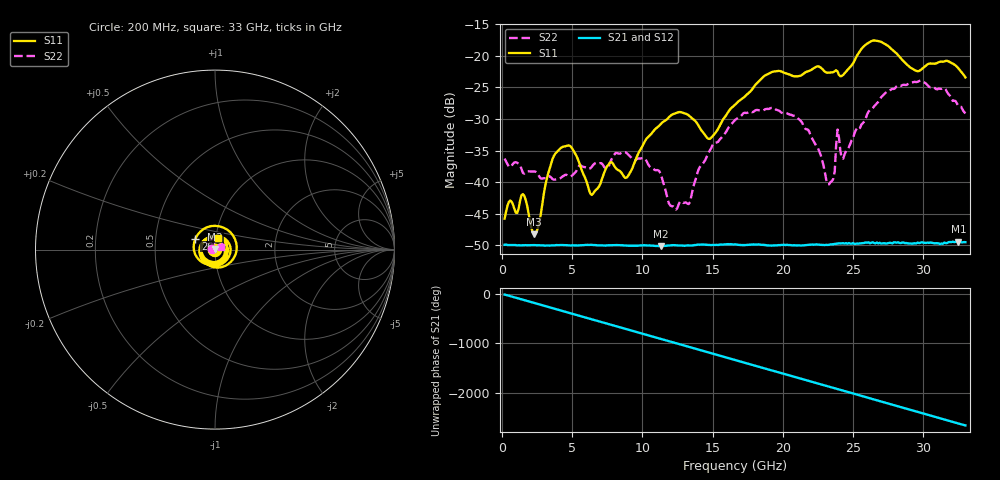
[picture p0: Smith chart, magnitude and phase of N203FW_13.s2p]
# GHZ S RI R 50
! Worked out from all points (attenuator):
!   329 points, 200 MHz to 33 GHz, reference 50 ohm
!   highest |S21| = -49.46 dB at 32.5 GHz (marker M1); lowest = -50.2 dB at 11.3 GHz (marker M2)
!   lowest |S11| = -48.3 dB at 2.3 GHz (marker M3), VSWR 1.01, Z = 50.1 + j0.38 ohm
!   |S11| at or under -10 dB: start of sweep to end of sweep
!   |S22| runs from -44.4 to -23.9 dB; largest |S21 - S12| = 8.7e-05
!   S11 on the Smith chart (normalised r, x): 200 MHz: 1.01, +0.00; 26 GHz: 0.80, +0.10; 33 GHz: 1.02, +0.14
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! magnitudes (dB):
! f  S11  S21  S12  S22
! 200 MHz  -45.8  -50.0  -49.9  -36.3
! 1.5 GHz  -41.9  -50.0  -50.0  -38.6
! 2.3 GHz  -48.3  -50.0  -50.0  -38.3
! 3.8 GHz  -35.5  -50.0  -50.0  -39.6
! 5.7 GHz  -38.2  -50.0  -50.0  -37.5
! 6.4 GHz  -42.0  -50.0  -50.0  -37.6
! 7.7 GHz  -36.9  -50.0  -50.0  -36.9
! 8.9 GHz  -39.3  -50.1  -50.1  -35.4
! 11.2 GHz  -31.1  -50.2  -50.1  -38.2
! 11.3 GHz  -30.8  -50.2  -50.1  -38.6
! 13.3 GHz  -29.4  -50.1  -50.1  -43.5
! 14.8 GHz  -33.2  -50.0  -50.0  -35.0
! 16.6 GHz  -27.8  -49.9  -49.9  -30.2
! 22.1 GHz  -22.1  -49.9  -49.9  -33.1
! 23.3 GHz  -22.6  -50.0  -49.9  -40.4
! 23.7 GHz  -22.4  -49.8  -49.8  -38.3
! 23.9 GHz  -22.5  -49.8  -49.8  -31.7
! 24.3 GHz  -23.0  -49.7  -49.6  -36.3
! 26 GHz  -18.1  -49.6  -49.6  -29.3
! 27.6 GHz  -18.6  -49.6  -49.7  -25.5
! 32.5 GHz  -22.0  -49.5  -49.4  -28.0
! 33 GHz  -23.4  -49.5  -49.6  -29.1
